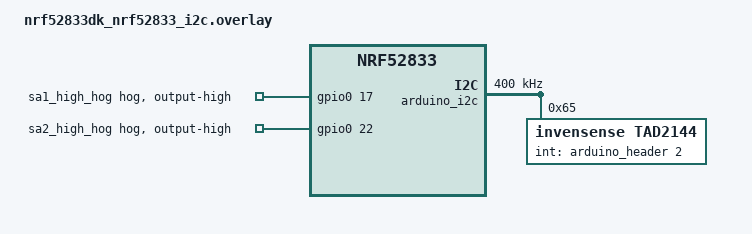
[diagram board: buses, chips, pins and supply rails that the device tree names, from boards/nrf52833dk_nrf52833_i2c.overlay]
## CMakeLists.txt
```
#
# Copyright (c) 2024 TDK Invensense
#
# SPDX-License-Identifier: Apache-2.0
#

cmake_minimum_required(VERSION 3.28.0)
find_package(Zephyr REQUIRED HINTS $ENV{ZEPHYR_BASE})
project(tad2144)

FILE(GLOB app_sources src/*.c)
target_sources(app PRIVATE ${app_sources})
```

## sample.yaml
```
sample:
  name: TAD2144 Sensor Sample
tests:
  sample.sensor.tad2144:
    build_only: true
    platform_allow: nrf52840dk/nrf52840
    integration_platforms:
      - nrf52840dk/nrf52840
    tags: sensors
```

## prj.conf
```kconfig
#
# Copyright (c) 2024 TDK Invensense
#
# SPDX-License-Identifier: Apache-2.0
#

CONFIG_SENSOR=y
CONFIG_LOG=y
CONFIG_SENSOR_LOG_LEVEL_DBG=n

# Floating point format support
# Selecting this increases stack size requirements slightly, but increases code size significantly.
CONFIG_CBPRINTF_FP_SUPPORT=y

# Trigger mode: sample is using interrupt triggering
CONFIG_TAD2144_TRIGGER_OWN_THREAD=y
#CONFIG_TAD2144_TRIGGER_GLOBAL_THREAD=y

CONFIG_LOG_MODE_IMMEDIATE=y
```

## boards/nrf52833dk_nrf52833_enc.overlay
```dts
/*
 * Copyright (c) 2024, TDK Invensense
 *
 * SPDX-License-Identifier: Apache-2.0
 */

/*
 * Example configuration of a TAD2144 device on encoder interface.
 */
/ {
	tad2144_encoder: tad2144_encoder {
		compatible = "invensense,tad2144";
		status = "okay";

		encb-gpios = <&gpio0 22 (GPIO_PULL_UP | GPIO_ACTIVE_HIGH)>;
		enca-gpios = <&gpio0 21 (GPIO_PULL_UP | GPIO_ACTIVE_HIGH)>;
		encz-gpios = <&gpio0 23 (GPIO_PULL_UP | GPIO_ACTIVE_HIGH)>;
	};
};
```

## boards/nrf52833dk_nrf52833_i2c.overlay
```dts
/*
 * Copyright (c) 2024, TDK Invensense
 *
 * SPDX-License-Identifier: Apache-2.0
 */

&gpio0 {
	status = "okay";

	/* Configure I2C address LSB as described in TAD specification */
	sa1_high_hog: sa1-high-hog {
		gpio-hog;
		gpios = <17 GPIO_ACTIVE_HIGH>;
		output-high;
	};

	sa2_high_hog: sa2-high-hog {
		gpio-hog;
		gpios = <22 GPIO_ACTIVE_HIGH>;
		output-high;
	};
};

&arduino_i2c {
	status = "okay";
	clock-frequency = <400000>;

	tad2144: tad2144@65 {
		compatible = "invensense,tad2144";
		reg = <0x65>;
		int-gpios = <&arduino_header 2 GPIO_ACTIVE_HIGH>;
	};
};
```

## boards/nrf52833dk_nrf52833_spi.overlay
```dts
/*
 * Copyright (c) 2024, TDK Invensense
 *
 * SPDX-License-Identifier: Apache-2.0
 */

/*
 * Example configuration of a TAD2144 device on spi2 compatible with an Arduino SPI bus.
 */

&arduino_spi {
	status = "okay";
	cs-gpios = <&gpio0 17 GPIO_ACTIVE_LOW>;

	tad2144: tad2144@0 {
		compatible = "invensense,tad2144";
		reg = <0>;
		spi-max-frequency = <1000000>; /* conservatively set to 1MHz */
		int-gpios = <&arduino_header 8 GPIO_ACTIVE_HIGH>;
	};
};
```

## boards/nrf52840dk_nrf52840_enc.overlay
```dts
/*
 * Copyright (c) 2024, TDK Invensense
 *
 * SPDX-License-Identifier: Apache-2.0
 */

/*
 * Example configuration of a TAD2144 device on encoder interface.
 */
/ {
	tad2144_encoder: tad2144_encoder {
		compatible = "invensense,tad2144";

		encb-gpios = <&gpio1 14 (GPIO_PULL_UP | GPIO_ACTIVE_HIGH)>;
		enca-gpios = <&gpio1 13 (GPIO_PULL_UP | GPIO_ACTIVE_HIGH)>;
		encz-gpios = <&gpio1 15 (GPIO_PULL_UP | GPIO_ACTIVE_HIGH)>;
		status = "okay";
	};
};
```

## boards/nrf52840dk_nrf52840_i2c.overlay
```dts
/*
 * Copyright (c) 2024, TDK Invensense
 *
 * SPDX-License-Identifier: Apache-2.0
 */

&gpio1 {
	status = "okay";

	/* Configure I2C address LSB as described in TAD specification */
	sa1_high_hog: sa1-high-hog {
		gpio-hog;
		gpios = <10 GPIO_ACTIVE_HIGH>;
		output-high;
	};

	sa2_high_hog: sa2-high-hog {
		gpio-hog;
		gpios = <14 GPIO_ACTIVE_HIGH>;
		output-high;
	};
};

&arduino_i2c {
	clock-frequency = <400000>;
	status = "okay";

	tad2144: tad2144@65 {
		compatible = "invensense,tad2144";
		reg = <0x65>;
		int-gpios = <&arduino_header 2 GPIO_ACTIVE_HIGH>;
	};
};
```

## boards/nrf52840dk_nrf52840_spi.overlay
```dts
/*
 * Copyright (c) 2024, TDK Invensense
 *
 * SPDX-License-Identifier: Apache-2.0
 */

/*
 * Example configuration of a TAD2144 device on spi2 compatible with an Arduino SPI bus.
 */

&arduino_spi {
	cs-gpios = <&gpio1 10 GPIO_ACTIVE_LOW>;
	status = "okay";

	tad2144: tad2144@0 {
		compatible = "invensense,tad2144";
		reg = <0>;
		spi-max-frequency = <1000000>; /* conservatively set to 1MHz */
		int-gpios = <&arduino_header 2 GPIO_ACTIVE_HIGH>;
	};
};
```

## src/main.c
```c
/*
 * Copyright (c) 2024 TDK Invensense
 *
 * SPDX-License-Identifier: Apache-2.0
 */

#include <zephyr/kernel.h>
#include <zephyr/device.h>
#include <zephyr/devicetree.h>
#include <zephyr/drivers/sensor.h>
#include <stdio.h>

/** @brief Power Mode
 *  @details Power Mode Selection
 */
typedef enum {
	TAD214X_MODE_SBY	= 0,
	TAD214X_MODE_CONT	= 1,
	TAD214X_MODE_LPM	= 2,
	TAD214X_MODE_SINGLE	= 3
} TAD214X_PowerMode_t;

/** @brief ODR
 *  @details ODR Selection
 */
typedef enum {
	TAD214X_ODR_10	= 0,
	TAD214X_ODR_100	= 1,
	TAD214X_ODR_300	= 2
} TAD214X_ODR_t;


static struct sensor_trigger data_trigger;

static const struct device *get_tad2144_device(void)
{
	const struct device *const dev = DEVICE_DT_GET_ANY(invensense_tad2144);

	if (dev == NULL) {
		/* No such node, or the node does not have status "okay". */
		printk("\nError: no device found.\n");
		return NULL;
	}

	if (!device_is_ready(dev)) {
		printk("\nError: Device \"%s\" is not ready; "
			"check the driver initialization logs for errors.\n", dev->name);
		return NULL;
	}

	printk("Found device \"%s\", getting sensor data\n", dev->name);
	return dev;
}

static int set_sampling_freq(const struct device *dev, TAD214X_ODR_t freq)
{
	int ret;
	struct sensor_value config;

	config.val1 = freq;
	ret = sensor_attr_set(dev, SENSOR_CHAN_ROTATION, SENSOR_ATTR_SAMPLING_FREQUENCY, &config);

	if (ret != 0) {
		printf("%s : failed to set sampling frequency or in encoder mode\n", dev->name);
	}

	return 0;
}

static int set_sampling_mode(const struct device *dev, TAD214X_PowerMode_t mode)
{
	int ret;
	struct sensor_value config;

	config.val1 = mode;
	ret = sensor_attr_set(dev, SENSOR_CHAN_ROTATION, SENSOR_ATTR_CONFIGURATION, &config);

	if (ret != 0) {
		printf("%s : failed to set sampling mode or in encoder mode\n", dev->name);
	}

	return 0;
}

static void handle_tad2144_drdy(const struct device *dev, const struct sensor_trigger *trig)
{
	if (trig->type == SENSOR_TRIG_DATA_READY) {
		int rc = sensor_sample_fetch(dev);
		struct sensor_value tmr_angle, tmr_temperature;
		float angle = 0.0, temperature = 0.0;

		if (rc == 0) {
			rc = sensor_channel_get(dev, SENSOR_CHAN_ROTATION,
									&tmr_angle);
			rc = sensor_channel_get(dev, SENSOR_CHAN_AMBIENT_TEMP,
									&tmr_temperature);
		}

		angle = (float)tmr_angle.val1 + ((float)tmr_angle.val2/100000.0f);
		temperature = (float)tmr_temperature.val1 + ((float)tmr_temperature.val2/100000.0f);

		printf("Angle : %.2f, Temp: %.2f C\n", (double)angle, (double)temperature);

		if (rc < 0) {
			printf("sample fetch failed: %d\n", rc);
			printf("cancelling trigger due to failure: %d\n", rc);
			(void)sensor_trigger_set(dev, trig, NULL);
			return;
		}
	}
}

static int get_angle_encoder(const struct device *dev)
{
	struct sensor_value tmr_angle;
	float angle = 0.0;
	int rc = sensor_sample_fetch(dev);

	if (rc == 0) {
		rc = sensor_channel_get(dev, SENSOR_CHAN_ROTATION,
					&tmr_angle);
	}

	if (rc == 0) {
		angle = (float)tmr_angle.val1 + ((float)tmr_angle.val2/100000.0f);
		printf("Angle : %.2f\n", (double)angle);
	} else {
		printf("sample fetch/get failed: %d\n", rc);
	}

	return rc;
}


int main(void)
{
	const struct device *dev = get_tad2144_device();

	if (dev == NULL) {
		return 0;
	}

	set_sampling_freq(dev, TAD214X_ODR_100);
	set_sampling_mode(dev, TAD214X_MODE_CONT);

	data_trigger = (struct sensor_trigger){
		.type = SENSOR_TRIG_DATA_READY,
	};

	if (sensor_trigger_set(dev, &data_trigger, handle_tad2144_drdy) < 0) {
		printf("Cannot configure data trigger!!!\n");
		return 0;
	}

	printf("Configured for TAD2144 data collecting.\n");

	/* Only use in ENC mode */
	while (!IS_ENABLED(CONFIG_SPI) && !IS_ENABLED(CONFIG_I2C)) {
		int rc = get_angle_encoder(dev);

		if (rc != 0) {
			break;
		}
		k_sleep(K_MSEC(100));
	}

	return 0;
}
```
